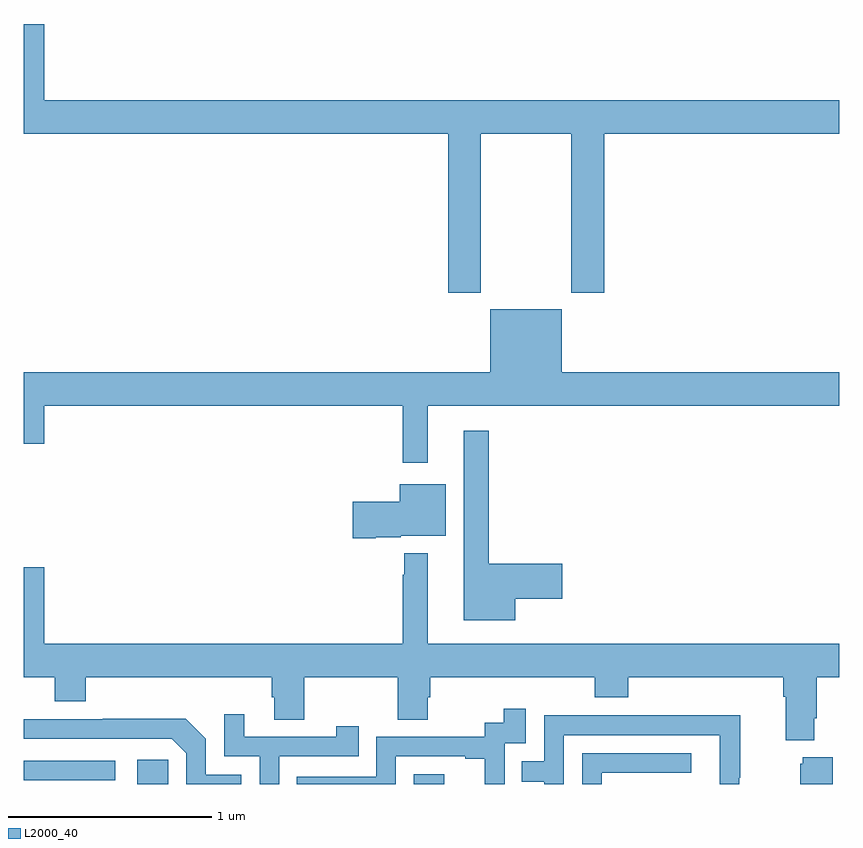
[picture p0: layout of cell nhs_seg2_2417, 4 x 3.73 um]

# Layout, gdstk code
import gdstk
lib = gdstk.Library(unit=1e-6, precision=1e-09)
def R(c, l, rs):  # rectangles x0, y0, x1, y1
    for r in rs: c.add(gdstk.rectangle(r[:2], r[2:], *l))
def P(c, l, *ps):  # polygons
    for p in ps: c.add(gdstk.Polygon(p, *l))
L2000_40 = (2000, 40)

nhs_seg2_2417 = lib.new_cell('nhs_seg2_2417')
R(nhs_seg2_2417, L2000_40, [(237.558,625.8,237.708,625.918), (238.914,625.8,239.062,625.849), (237,625.818,237.448,625.914)])
P(nhs_seg2_2417, L2000_40, [(239.241,628.988),(239.686,628.988),(239.686,628.209),(239.846,628.209),(239.846,628.988),(241,628.988),(241,629.152),(237.1,629.152),(237.1,629.527),(237,629.527),(237,628.988),(239.081,628.988),(239.081,628.209),(239.241,628.209)],
  [(238.981,627.656),(241,627.656),(241,627.82),(239.638,627.82),(239.638,628.129),(239.288,628.129),(239.288,627.82),(237,627.82),(237,627.468),(237.1,627.468),(237.1,627.656),(238.86,627.656),(238.86,627.375),(238.981,627.375)],
  [(239.41,626.708),(239.641,626.708),(239.641,626.879),(239.281,626.879),(239.281,627.532),(239.159,627.532),(239.159,626.603),(239.41,626.603)],
  [(238.726,627.011),(238.848,627.011),(238.848,627.017),(239.071,627.017),(239.071,627.271),(238.844,627.271),(238.844,627.183),(238.614,627.183),(238.614,627.005),(238.726,627.005)],
  [(240.877,626.122),(240.89,626.122),(240.89,626.324),(241,626.324),(241,626.488),(238.981,626.488),(238.981,626.932),(238.867,626.932),(238.867,626.825),(238.86,626.825),(238.86,626.488),(237.1,626.488),(237.1,626.863),(237,626.863),(237,626.324),(237.152,626.324),(237.152,626.207),(237.305,626.207),(237.305,626.324),(238.217,626.324),(238.217,626.226),(238.229,626.226),(238.229,626.116),(238.377,626.116),(238.377,626.324),(238.834,626.324),(238.834,626.116),(238.981,626.116),(238.981,626.226),(238.994,626.226),(238.994,626.324),(239.801,626.324),(239.801,626.225),(239.966,626.225),(239.966,626.324),(240.725,626.324),(240.725,626.228),(240.737,626.228),(240.737,626.015),(240.877,626.015)],
  [(238.824,625.935),(239.165,625.935),(239.165,625.923),(239.261,625.923),(239.261,625.8),(239.358,625.8),(239.358,626.001),(239.463,626.001),(239.463,626.17),(239.355,626.17),(239.355,626.1),(239.262,626.1),(239.262,626.031),(238.728,626.031),(238.728,625.836),(238.339,625.836),(238.339,625.8),(238.824,625.8)],
  [(238.254,625.935),(238.643,625.935),(238.643,626.083),(238.532,626.083),(238.532,626.031),(238.081,626.031),(238.081,626.143),(237.984,626.143),(237.984,625.935),(238.158,625.935),(238.158,625.8),(238.254,625.8)],
  [(239.649,626.04),(240.414,626.04),(240.414,625.8),(240.51,625.8),(240.51,625.831),(240.513,625.831),(240.513,626.138),(240.049,626.138),(240.049,626.136),(239.553,626.136),(239.553,625.911),(239.443,625.911),(239.443,625.81),(239.553,625.81),(239.553,625.8),(239.649,625.8)],
  [(238.068,625.845),(237.894,625.845),(237.894,626.022),(237.796,626.12),(237.388,626.12),(237.388,626.118),(237,626.118),(237,626.022),(237.726,626.022),(237.798,625.95),(237.798,625.8),(238.068,625.8)],
  [(239.835,625.854),(240.274,625.854),(240.274,625.95),(239.739,625.95),(239.739,625.8),(239.835,625.8)],
  [(240.967,625.93),(240.821,625.93),(240.821,625.899),(240.809,625.899),(240.809,625.8),(240.967,625.8)])

lib.write_gds('nhs_seg2_2417.gds')
